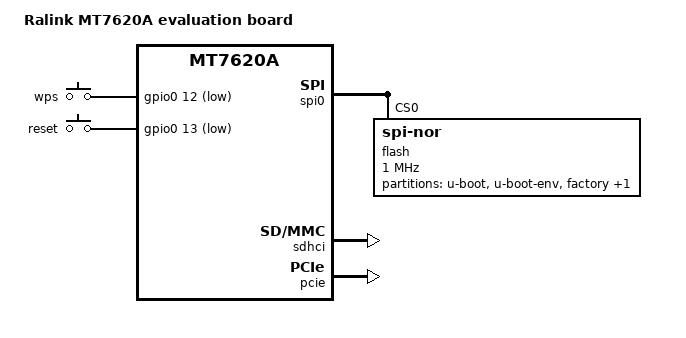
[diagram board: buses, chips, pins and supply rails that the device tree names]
/dts-v1/;

#include "mt7620a.dtsi"

#include <dt-bindings/gpio/gpio.h>
#include <dt-bindings/input/input.h>

/ {
	compatible = "ralink,mt7620a-mt7610e-evb", "ralink,mt7620a-soc";
	model = "Ralink MT7620A evaluation board";

	keys {
		compatible = "gpio-keys";

		wps {
			label = "wps";
			gpios = <&gpio0 12 GPIO_ACTIVE_LOW>;
			linux,code = <BTN_0>;
		};

		reset {
			label = "reset";
			gpios = <&gpio0 13 GPIO_ACTIVE_LOW>;
			linux,code = <BTN_1>;
		};
	};
};

&gpio0 {
	status = "okay";
};

&spi0 {
	status = "okay";

	flash@0 {
		compatible = "jedec,spi-nor";
		reg = <0>;
		spi-max-frequency = <1000000>;

		partitions {
			compatible = "fixed-partitions";
			#address-cells = <1>;
			#size-cells = <1>;

			partition@0 {
				label = "u-boot";
				reg = <0x0 0x30000>;
				read-only;
			};

			partition@30000 {
				label = "u-boot-env";
				reg = <0x30000 0x10000>;
				read-only;
			};

			factory: partition@40000 {
				label = "factory";
				reg = <0x40000 0x10000>;
				read-only;
			};

			partition@50000 {
				compatible = "denx,uimage";
				label = "firmware";
				reg = <0x50000 0x7b0000>;
			};
		};
	};
};

&ethernet {
	pinctrl-names = "default";
	pinctrl-0 = <&ephy_pins>;

	mediatek,portmap = "llllw";
};

&gsw {
	mediatek,port4 = "ephy";
};

&sdhci {
	status = "okay";
};

&pcie {
	status = "okay";
};

&pcie0 {
	wifi@0,0 {
		reg = <0x0000 0 0 0 0>;
		mediatek,mtd-eeprom = <&factory 0x8000>;
		ieee80211-freq-limit = <5000000 6000000>;
	};
};
